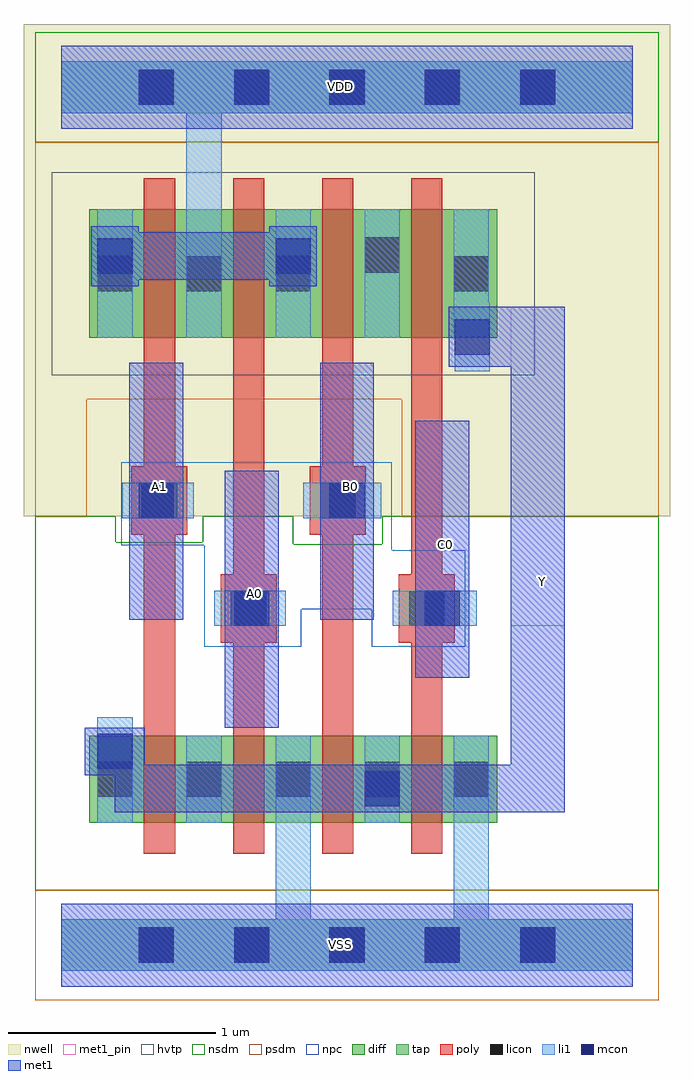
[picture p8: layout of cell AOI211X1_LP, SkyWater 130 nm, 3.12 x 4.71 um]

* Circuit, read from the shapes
.subckt AOI211X1_LP A0 A1 B0 C0 VDD VSS Y
XM1 n1 A1 Y VSS sky130_fd_pr__nfet_01v8 w=0.42 l=0.15
XM2 VSS A0 n1 VSS sky130_fd_pr__nfet_01v8 w=0.42 l=0.15
XM3 Y B0 VSS VSS sky130_fd_pr__nfet_01v8 w=0.42 l=0.15
XM4 VSS C0 Y VSS sky130_fd_pr__nfet_01v8 w=0.42 l=0.15
XM5 VDD A1 n2 VDD sky130_fd_pr__pfet_01v8_hvt w=0.62 l=0.15
XM6 n2 A0 VDD VDD sky130_fd_pr__pfet_01v8_hvt w=0.62 l=0.15
XM7 n3 B0 n2 VDD sky130_fd_pr__pfet_01v8_hvt w=0.62 l=0.15
XM8 Y C0 n3 VDD sky130_fd_pr__pfet_01v8_hvt w=0.62 l=0.15
.ends

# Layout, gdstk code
from math import pi, radians
import gdstk
lib = gdstk.Library(unit=1e-6, precision=1e-09)
def R(c, l, rs):  # rectangles x0, y0, x1, y1
    for r in rs: c.add(gdstk.rectangle(r[:2], r[2:], *l))
def A(c, l, x, y, w, h, nx, ny, dx, dy):  # array of equal rectangles
    R(c, l, [(x+i*dx, y+j*dy, x+i*dx+w, y+j*dy+h) for i in range(nx) for j in range(ny)])
def P(c, l, *ps):  # polygons
    for p in ps: c.add(gdstk.Polygon(p, *l))
nwell = (64, 20)
diff = (65, 20)
tap = (65, 44)
poly = (66, 20)
licon = (66, 44)
li1 = (67, 20)
mcon = (67, 44)
met1_pin = (68, 16)
met1 = (68, 20)
hvtp = (78, 44)
nsdm = (93, 44)
psdm = (94, 20)
npc = (95, 20)

licondiff_c_cdns_7507218 = lib.new_cell('LICONDIFF_C_CDNS_750721840974')
R(licondiff_c_cdns_7507218, diff, [(-0.125,-0.145,0.125,0.145)])
R(licondiff_c_cdns_7507218, licon, [(-0.085,-0.085,0.085,0.085), (-0.085,-0.085,0.085,0.085)])

l1m1_c_cdns_750721840971 = lib.new_cell('L1M1_C_CDNS_750721840971')
R(l1m1_c_cdns_750721840971, li1, [(-0.085,-0.165,0.085,0.165)])
R(l1m1_c_cdns_750721840971, mcon, [(-0.085,-0.085,0.085,0.085)])
R(l1m1_c_cdns_750721840971, met1, [(-0.115,-0.145,0.115,0.145)])

c_l1m1_c_cdns_750721840971 = lib.new_cell('L1M1_C_CDNS_7507218409711')
R(c_l1m1_c_cdns_750721840971, li1, [(-0.085,-0.165,0.085,0.165)])
R(c_l1m1_c_cdns_750721840971, mcon, [(-0.085,-0.085,0.085,0.085)])
R(c_l1m1_c_cdns_750721840971, met1, [(-0.115,-0.085,0.115,0.085)])

l1m1_c_cdns_750721840973 = lib.new_cell('L1M1_C_CDNS_750721840973')
R(l1m1_c_cdns_750721840973, li1, [(-0.165,-0.085,0.165,0.085)])
R(l1m1_c_cdns_750721840973, mcon, [(-0.085,-0.085,0.085,0.085)])
R(l1m1_c_cdns_750721840973, met1, [(-0.115,-0.145,0.115,0.145)])

pyl1con_c_cdns_750721840 = lib.new_cell('PYL1CON_C_CDNS_750721840972')
R(pyl1con_c_cdns_750721840, poly, [(-0.135,-0.165,0.135,0.165)])
R(pyl1con_c_cdns_750721840, licon, [(-0.085,-0.085,0.085,0.085)])
R(pyl1con_c_cdns_750721840, npc, [(-0.185,-0.185,0.185,0.185)])

aoi211x1_lp = lib.new_cell('AOI211X1_LP')
R(aoi211x1_lp, nwell, [(-0.18,2.07,2.94,4.305), (-0.045,2.75,0.785,3.73), (0.425,2.75,1.385,3.73), (1.025,2.75,1.815,3.73), (1.455,2.75,2.285,3.73), (-0.18,3.875,2.94,4.445)])
A(aoi211x1_lp, diff, 0.4, 0.59, 0.15, 0.42, 4, 1, 0.43, 0)
A(aoi211x1_lp, diff, 0.4, 2.93, 0.15, 0.62, 4, 1, 0.43, 0)
R(aoi211x1_lp, diff, [(0.135,0.59,0.4,1.01), (0.55,0.59,0.605,1.01), (0.605,0.59,0.83,1.01), (0.98,0.59,1.205,1.01), (1.205,0.59,1.26,1.01), (1.41,0.59,1.635,1.01), (1.635,0.59,1.69,1.01), (1.84,0.59,2.105,1.01), (0.135,2.93,0.4,3.55), (0.55,2.93,0.605,3.55), (0.605,2.93,0.83,3.55), (0.98,2.93,1.205,3.55), (1.205,2.93,1.26,3.55), (1.41,2.93,1.635,3.55), (1.635,2.93,1.69,3.55), (1.84,2.93,2.105,3.55)])
A(aoi211x1_lp, poly, 0.4, 0.44, 0.15, 0.055, 4, 2, 0.43, 0.665)
A(aoi211x1_lp, poly, 0.4, 0.495, 0.15, 0.095, 4, 2, 0.43, 0.515)
A(aoi211x1_lp, poly, 0.4, 0.59, 0.15, 0.42, 4, 1, 0.43, 0)
A(aoi211x1_lp, poly, 0.4, 2.78, 0.15, 0.055, 4, 2, 0.43, 0.865)
A(aoi211x1_lp, poly, 0.4, 2.835, 0.15, 0.095, 4, 2, 0.43, 0.715)
A(aoi211x1_lp, poly, 0.4, 2.93, 0.15, 0.62, 4, 1, 0.43, 0)
A(aoi211x1_lp, licon, 0.375, -0.085, 0.17, 0.17, 5, 2, 0.46, 4.14)
A(aoi211x1_lp, licon, 1.035, 0.715, 0.17, 0.17, 3, 1, 0.43, 0)
A(aoi211x1_lp, licon, 0.175, 3.155, 0.17, 0.17, 3, 1, 0.43, 0)
R(aoi211x1_lp, licon, [(0.175,0.715,0.345,0.885), (1.895,3.155,2.065,3.325)])
A(aoi211x1_lp, li1, 1.035, 0.59, 0.17, 0.42, 3, 1, 0.43, 0)
A(aoi211x1_lp, li1, 0.175, 2.93, 0.17, 0.62, 3, 1, 0.43, 0)
R(aoi211x1_lp, li1, [(0.175,0.59,0.345,1.01), (1.895,2.93,2.065,3.55)])
A(aoi211x1_lp, mcon, 0.375, -0.085, 0.17, 0.17, 5, 2, 0.46, 4.14)
R(aoi211x1_lp, met1_pin, [(0.79,1.05,1.05,2.29), (1.71,1.29,1.97,2.53), (2.17,1.54,2.43,3.08), (0.33,1.57,0.59,2.81), (1.25,1.57,1.51,2.81)])
R(aoi211x1_lp, met1, [(1.87,2.79,2.43,3.08)])
R(aoi211x1_lp, hvtp, [(-0.045,2.75,0.785,3.73), (0.425,2.75,1.385,3.73), (1.025,2.75,1.815,3.73), (1.455,2.75,2.285,3.73)])
R(aoi211x1_lp, nsdm, [(-0.005,0.46,0.615,1.14), (0.595,0.46,1.215,1.14), (1.195,0.46,1.645,1.14), (1.625,0.46,2.245,1.14), (-0.125,3.875,2.885,4.405), (-0.125,3.93,2.885,4.35)])
P(aoi211x1_lp, nsdm, [(2.885,2.07),(1.55,2.07),(1.55,1.935),(1.12,1.935),(1.12,2.07),(0.685,2.07),(0.685,1.945),(0.265,1.945),(0.265,2.07),(-0.125,2.07),(-0.125,0.265),(2.885,0.265)])
R(aoi211x1_lp, psdm, [(-0.125,-0.265,2.885,0.265), (-0.125,-0.21,2.885,0.21), (-0.005,2.8,0.615,3.68), (0.595,2.8,1.215,3.68), (1.195,2.8,1.645,3.68), (1.625,2.8,2.245,3.68)])
P(aoi211x1_lp, psdm, [(2.885,3.875),(-0.125,3.875),(-0.125,2.07),(0.125,2.07),(0.125,2.635),(1.645,2.635),(1.645,2.07),(2.885,2.07)])
P(aoi211x1_lp, npc, [(1.95,1.905),(1.595,1.905),(1.595,2.33),(0.29,2.33),(0.29,1.93),(0.69,1.93),(0.69,1.44),(1.16,1.44),(1.16,1.62),(1.5,1.62),(1.5,1.44),(1.95,1.44)])
aoi211x1_lp.add(gdstk.FlexPath([(0,0),(2.76,0)], 0.25, ends="flush", simple_path=True, layer=65, datatype=44))  # tap
aoi211x1_lp.add(gdstk.FlexPath([(0,4.14),(2.76,4.14)], 0.25, ends="flush", simple_path=True, layer=65, datatype=44))  # tap
aoi211x1_lp.add(gdstk.FlexPath([(1.765,1.16),(1.765,2.78)], 0.15, ends="flush", simple_path=True, layer=66, datatype=20))  # poly
aoi211x1_lp.add(gdstk.FlexPath([(0.475,2.78),(0.475,1.16)], 0.15, ends="flush", simple_path=True, layer=66, datatype=20))  # poly
aoi211x1_lp.add(gdstk.FlexPath([(0.905,1.16),(0.905,2.78)], 0.15, ends="flush", simple_path=True, layer=66, datatype=20))  # poly
aoi211x1_lp.add(gdstk.FlexPath([(1.335,1.16),(1.335,2.78)], 0.15, ends="flush", simple_path=True, layer=66, datatype=20))  # poly
aoi211x1_lp.add(gdstk.FlexPath([(1.98,0.59),(1.98,0)], 0.17, ends="flush", simple_path=True, layer=67, datatype=20))  # li1
aoi211x1_lp.add(gdstk.FlexPath([(1.12,0.59),(1.12,0)], 0.17, ends="flush", simple_path=True, layer=67, datatype=20))  # li1
aoi211x1_lp.add(gdstk.FlexPath([(2.47,0),(2.76,0)], 0.25, ends=(0.085, 0), simple_path=True, layer=67, datatype=20))  # li1
aoi211x1_lp.add(gdstk.FlexPath([(1.61,0),(2.47,0)], 0.25, ends=(0.085, 0.085), simple_path=True, layer=67, datatype=20))  # li1
aoi211x1_lp.add(gdstk.FlexPath([(0.69,0),(1.61,0)], 0.25, ends=(0.085, 0.085), simple_path=True, layer=67, datatype=20))  # li1
aoi211x1_lp.add(gdstk.FlexPath([(0,0),(0.69,0)], 0.25, ends=(0, 0.085), simple_path=True, layer=67, datatype=20))  # li1
aoi211x1_lp.add(gdstk.FlexPath([(0.69,3.55),(0.69,4.14)], 0.17, ends=(0, 0.125), simple_path=True, layer=67, datatype=20))  # li1
aoi211x1_lp.add(gdstk.FlexPath([(1.84,1.625),(1.6,1.625)], 0.17, ends="flush", simple_path=True, layer=67, datatype=20))  # li1
aoi211x1_lp.add(gdstk.FlexPath([(1.38,2.145),(1.17,2.145)], 0.17, ends="flush", simple_path=True, layer=67, datatype=20))  # li1
aoi211x1_lp.add(gdstk.FlexPath([(0.69,0.905),(0.69,1.01)], 0.17, ends="flush", simple_path=True, layer=67, datatype=20))  # li1
aoi211x1_lp.add(gdstk.FlexPath([(2.47,4.14),(2.76,4.14)], 0.25, ends=(0.085, 0), simple_path=True, layer=67, datatype=20))  # li1
aoi211x1_lp.add(gdstk.FlexPath([(0.92,1.625),(0.74,1.625)], 0.17, ends="flush", simple_path=True, layer=67, datatype=20))  # li1
aoi211x1_lp.add(gdstk.FlexPath([(0.46,2.145),(0.64,2.145)], 0.17, ends="flush", simple_path=True, layer=67, datatype=20))  # li1
aoi211x1_lp.add(gdstk.FlexPath([(1.61,4.14),(2.47,4.14)], 0.25, ends=(0.085, 0.085), simple_path=True, layer=67, datatype=20))  # li1
aoi211x1_lp.add(gdstk.FlexPath([(1.55,2.93),(1.55,3.55)], 0.17, ends="flush", simple_path=True, layer=67, datatype=20))  # li1
aoi211x1_lp.add(gdstk.FlexPath([(0,4.14),(0.69,4.14)], 0.25, ends=(0, 0.085), simple_path=True, layer=67, datatype=20))  # li1
aoi211x1_lp.add(gdstk.FlexPath([(0.69,4.14),(1.61,4.14)], 0.25, ends=(0.085, 0.085), simple_path=True, layer=67, datatype=20))  # li1
aoi211x1_lp.add(gdstk.FlexPath([(0.69,0.59),(0.69,0.905)], 0.17, ends="flush", simple_path=True, layer=67, datatype=20))  # li1
aoi211x1_lp.add(gdstk.FlexPath([(0,0),(2.76,0)], 0.4, ends="flush", simple_path=True, layer=68, datatype=20))  # met1
aoi211x1_lp.add(gdstk.FlexPath([(0,4.14),(2.76,4.14)], 0.4, ends="flush", simple_path=True, layer=68, datatype=20))  # met1
aoi211x1_lp.add(gdstk.FlexPath([(1.55,0.755),(0.26,0.755)], 0.23, ends="flush", simple_path=True, layer=68, datatype=20))  # met1
aoi211x1_lp.add(gdstk.FlexPath([(2.3,0.785),(2.3,0.64)], 0.26, ends=(0.145, 0), simple_path=True, layer=68, datatype=20))  # met1
aoi211x1_lp.add(gdstk.FlexPath([(0.46,2.81),(0.46,1.57)], 0.26, ends="flush", simple_path=True, layer=68, datatype=20))  # met1
aoi211x1_lp.add(gdstk.FlexPath([(1.38,2.81),(1.38,1.57)], 0.26, ends="flush", simple_path=True, layer=68, datatype=20))  # met1
aoi211x1_lp.add(gdstk.FlexPath([(1.84,2.53),(1.84,1.29)], 0.26, ends="flush", simple_path=True, layer=68, datatype=20))  # met1
aoi211x1_lp.add(gdstk.FlexPath([(0.92,2.29),(0.92,1.05)], 0.26, ends="flush", simple_path=True, layer=68, datatype=20))  # met1
aoi211x1_lp.add(gdstk.FlexPath([(0.26,3.325),(1.12,3.325)], 0.23, ends="flush", simple_path=True, layer=68, datatype=20))  # met1
aoi211x1_lp.add(gdstk.FlexPath([(2.135,0.755),(1.55,0.755)], 0.23, ends=(0.115, 0), simple_path=True, layer=68, datatype=20))  # met1
aoi211x1_lp.add(gdstk.FlexPath([(2.3,3.08),(2.3,0.785)], 0.26, ends=(0, 0.145), simple_path=True, layer=68, datatype=20))  # met1
aoi211x1_lp.add(gdstk.FlexPath([(0,4.14),(2.76,4.14)], 0.4, ends="flush", simple_path=True, layer=68, datatype=16))  # met1_pin
aoi211x1_lp.add(gdstk.FlexPath([(0,0),(2.76,0)], 0.4, ends="flush", simple_path=True, layer=68, datatype=16))  # met1_pin
aoi211x1_lp.add(gdstk.Reference(licondiff_c_cdns_7507218, (0.69,0.8)))
aoi211x1_lp.add(gdstk.Reference(licondiff_c_cdns_7507218, (1.55,3.33)))
aoi211x1_lp.add(gdstk.Reference(l1m1_c_cdns_750721840971, (1.985,2.935), x_reflection=True))
aoi211x1_lp.add(gdstk.Reference(l1m1_c_cdns_750721840971, (1.12,3.325)))
aoi211x1_lp.add(gdstk.Reference(l1m1_c_cdns_750721840971, (0.26,3.325)))
aoi211x1_lp.add(gdstk.Reference(c_l1m1_c_cdns_750721840971, (1.55,0.755), x_reflection=True))
aoi211x1_lp.add(gdstk.Reference(l1m1_c_cdns_750721840973, (0.26,0.935), rotation=pi/2))
aoi211x1_lp.add(gdstk.Reference(l1m1_c_cdns_750721840973, (1.38,2.145)))
aoi211x1_lp.add(gdstk.Reference(l1m1_c_cdns_750721840973, (0.46,2.145)))
aoi211x1_lp.add(gdstk.Reference(l1m1_c_cdns_750721840973, (0.92,1.625)))
aoi211x1_lp.add(gdstk.Reference(l1m1_c_cdns_750721840973, (1.84,1.625)))
aoi211x1_lp.add(gdstk.Reference(pyl1con_c_cdns_750721840, (0.905,1.625), x_reflection=True))
aoi211x1_lp.add(gdstk.Reference(pyl1con_c_cdns_750721840, (1.335,2.145), x_reflection=True))
aoi211x1_lp.add(gdstk.Reference(pyl1con_c_cdns_750721840, (0.475,2.145), x_reflection=True))
aoi211x1_lp.add(gdstk.Reference(pyl1con_c_cdns_750721840, (1.765,1.625), x_reflection=True))
aoi211x1_lp.add(gdstk.Label('VDD', (1.35,4.145), layer=68, texttype=5))
aoi211x1_lp.add(gdstk.Label('Y', (2.325,1.755), layer=68, texttype=5))
aoi211x1_lp.add(gdstk.Label('C0', (1.855,1.935), layer=68, texttype=5))
aoi211x1_lp.add(gdstk.Label('VSS', (1.35,0.005), layer=68, texttype=5))
aoi211x1_lp.add(gdstk.Label('B0', (1.395,2.215), layer=68, texttype=5))
aoi211x1_lp.add(gdstk.Label('A0', (0.935,1.695), layer=68, texttype=5))
aoi211x1_lp.add(gdstk.Label('A1', (0.475,2.215), layer=68, texttype=5))

lib.write_gds('AOI211X1_LP.gds')
